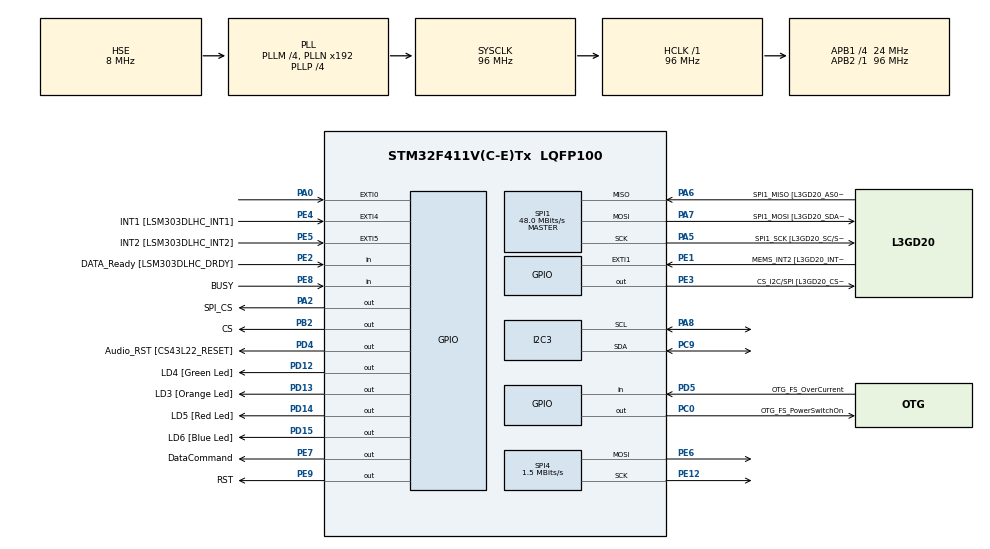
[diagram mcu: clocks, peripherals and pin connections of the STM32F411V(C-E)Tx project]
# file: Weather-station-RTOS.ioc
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PD12.GPIO_Label=LD4 [Green Led]
SPI4.VirtualType=VM_MASTER
PC10.GPIO_PuPd=GPIO_NOPULL
SPI1.VirtualType=VM_MASTER
PC12.Signal=I2S3_SD
PA14.GPIO_Label=SWCLK
PA6.GPIO_Label=SPI1_MISO [L3GD20_AS0/SDO]
PB6.GPIO_Label=Audio_SCL [CS43L22_SCL]
PC15-OSC32_OUT.GPIO_Label=PC15-OSC32_OUT
RCC.SYSCLKSource=RCC_SYSCLKSOURCE_PLLCLK
PD14.GPIO_Speed=GPIO_SPEED_FREQ_LOW
FREERTOS.configENABLE_FPU=1
SPI1.Direction=SPI_DIRECTION_2LINES
PD4.Signal=GPIO_Output
RCC.APB2TimFreq_Value=96000000
PB6.Signal=I2C1_SCL
PC7.Signal=I2S3_MCK
SPI1.CalculateBaudRate=48.0 MBits/s
PC3.Signal=I2S2_SD
PE5.Signal=GPXTI5
PE1.Signal=GPXTI1
PB2.Signal=GPIO_Output
PE9.Signal=GPIO_Output
NVIC.TIM2_IRQn=true\:0\:0\:false\:false\:true\:false\:false\:true
PE4.GPIO_Label=INT1 [LSM303DLHC_INT1]
PC9.Mode=I2C
PE2.Signal=GPIO_Input
PD14.GPIO_PuPd=GPIO_NOPULL
PA8.Signal=I2C3_SCL
Mcu.Package=LQFP100
PB9.Signal=I2C1_SDA
VP_SYS_VS_tim2.Mode=TIM2
NVIC.TimeBase=TIM2_IRQn
PD12.Signal=GPIO_Output
NVIC.TimeBaseIP=TIM2
PA10.Signal=USB_OTG_FS_ID
PB9.GPIO_PuPd=GPIO_NOPULL
RCC.APB1TimFreq_Value=48000000
PC12.GPIO_PuPd=GPIO_NOPULL
PA4.GPIO_Label=I2S3_WS [CS43L22_LRCK]
PD15.Signal=GPIO_Output
PC0.PinState=GPIO_PIN_SET
PA5.Mode=Full_Duplex_Master
PE12.Mode=TX_Only_Simplex_Unidirect_Master
FREERTOS.Tasks01=SensorTask,32,128,StartSensorTask,Default,NULL,Dynamic,NULL,NULL;DisplayTask,24,128,StartDisplayTask,Default,NULL,Dynamic,NULL,NULL;LedTask,16,128,StartLedTask,Default,NULL,Dynamic,NULL,NULL
PA9.GPIO_Label=VBUS_FS
PB6.GPIO_PuPd=GPIO_NOPULL
FREERTOS.configCHECK_FOR_STACK_OVERFLOW=1
PH1\ -\ OSC_OUT.Mode=HSE-External-Oscillator
PA11.GPIO_Label=OTG_FS_DM
PC0.Signal=GPIO_Output
RCC.APB1CLKDivider=RCC_HCLK_DIV4
PC14-OSC32_IN.Signal=RCC_OSC32_IN
PA0-WKUP.GPIO_ModeDefaultEXTI=GPIO_MODE_EVT_RISING
PA0-WKUP.Signal=GPXTI0
PC10.GPIO_Mode=GPIO_MODE_AF_PP
PE5.GPIO_ModeDefaultEXTI=GPIO_MODE_EVT_RISING
PE8.GPIO_Label=BUSY
PA9.Signal=USB_OTG_FS_VBUS
PC7.GPIO_PuPd=GPIO_NOPULL
PE9.GPIO_Label=RST
PB10.Signal=I2S2_CK
PA5.Signal=SPI1_SCK
PH1\ -\ OSC_OUT.Signal=RCC_OSC_OUT
PE1.GPIO_Label=MEMS_INT2 [L3GD20_INT2]
PE6.Mode=TX_Only_Simplex_Unidirect_Master
PE8.Signal=GPIO_Input
SPI1.Mode=SPI_MODE_MASTER
PA13.Mode=Serial_Wire
PC7.GPIO_Label=I2S3_MCK [CS43L22_MCLK]
PA4.Signal=I2S3_WS
PC12.GPIO_Mode=GPIO_MODE_AF_PP
PA5.GPIO_Label=SPI1_SCK [L3GD20_SC/SPC]
PE5.GPIO_Label=INT2 [LSM303DLHC_INT2]
PC12.GPIO_Label=I2S3_SD [CS43L22_SDIN]
PA11.Signal=USB_OTG_FS_DM
ProjectManager.HeapSize=0x200
FREERTOS.Mutexes01=myMutex01,Dynamic,NULL
NVIC.PriorityGroup=NVIC_PRIORITYGROUP_4
PE3.Signal=GPIO_Output
PC3.GPIO_Label=PDM_OUT [MP45DT02_DOUT]
PA8.Mode=I2C
PB6.GPIO_Speed=GPIO_SPEED_FREQ_LOW
Mcu.Family=STM32F4
PA6.Mode=Full_Duplex_Master
RCC.CortexFreq_Value=96000000
PB6.GPIO_Mode=GPIO_MODE_AF_OD
PD15.GPIO_Speed=GPIO_SPEED_FREQ_LOW
PC10.Signal=I2S3_CK
SPI4.Direction=SPI_DIRECTION_2LINES
PC0.GPIO_Label=OTG_FS_PowerSwitchOn
PC10.GPIO_Speed=GPIO_SPEED_FREQ_LOW
ProjectManager.StackSize=0x400
VP_FREERTOS_VS_CMSIS_V2.Mode=CMSIS_V2
PD13.Signal=GPIO_Output
PA12.Signal=USB_OTG_FS_DP
PH0\ -\ OSC_IN.Signal=RCC_OSC_IN
SPI4.Mode=SPI_MODE_MASTER
RCC.HCLKFreq_Value=96000000
FREERTOS.configUSE_MALLOC_FAILED_HOOK=1
RCC.AHBFreq_Value=96000000
RCC.HSE_VALUE=8000000
PA4.GPIO_PuPd=GPIO_NOPULL
PA4.GPIO_Speed=GPIO_SPEED_FREQ_LOW
PC14-OSC32_IN.Mode=LSE-External-Oscillator
PA14.Mode=Serial_Wire
PA10.GPIO_Label=OTG_FS_ID
PC7.GPIO_Mode=GPIO_MODE_AF_PP
PE4.Signal=GPXTI4
SPI4.BaudRatePrescaler=SPI_BAUDRATEPRESCALER_64
PD13.GPIO_Label=LD3 [Orange Led]
PA6.Signal=SPI1_MISO
PD5.GPIO_Label=OTG_FS_OverCurrent
PD15.GPIO_PuPd=GPIO_NOPULL
PA2.GPIO_Label=SPI_CS
PB9.GPIO_Speed=GPIO_SPEED_FREQ_LOW
PC14-OSC32_IN.GPIO_Label=PC14-OSC32_IN
PE7.Signal=GPIO_Output
SPI1.BaudRatePrescaler=SPI_BAUDRATEPRESCALER_2
PE2.GPIO_Label=DATA_Ready [LSM303DLHC_DRDY]
PB3.GPIO_Label=SWO
RCC.PLLSourceVirtual=RCC_PLLSOURCE_HSE
PC15-OSC32_OUT.Mode=LSE-External-Oscillator
PD12.GPIO_Speed=GPIO_SPEED_FREQ_LOW
PD15.GPIO_Label=LD6 [Blue Led]
PA7.Mode=Full_Duplex_Master
PB9.GPIO_Label=Audio_SDA [CS43L22_SDA]
PC10.GPIO_Label=I2S3_SCK [CS43L22_SCLK]
PE4.GPIO_ModeDefaultEXTI=GPIO_MODE_EVT_RISING
PD5.Signal=GPIO_Input
PE1.GPIO_ModeDefaultEXTI=GPIO_MODE_EVT_RISING
PA12.GPIO_Label=OTG_FS_DP
PA13.Signal=SYS_JTMS-SWDIO
FREERTOS.configUSE_IDLE_HOOK=1
PH0\ -\ OSC_IN.Mode=HSE-External-Oscillator
ProjectManager.TargetToolchain=STM32CubeIDE
PB10.GPIO_Label=CLK_IN [MP45DT02_CLK]
PC15-OSC32_OUT.Signal=RCC_OSC32_OUT
board=STM32F411E-DISCO
PD13.GPIO_Speed=GPIO_SPEED_FREQ_LOW
PC7.GPIO_Speed=GPIO_SPEED_FREQ_LOW
RCC.VCOOutputFreq_Value=384000000
PB9.GPIO_Mode=GPIO_MODE_AF_OD
PA4.GPIO_Mode=GPIO_MODE_AF_PP
RCC.APB2Freq_Value=96000000
PD4.GPIO_Label=Audio_RST [CS43L22_RESET]
PD13.GPIO_PuPd=GPIO_NOPULL
SPI4.CalculateBaudRate=1.5 MBits/s
PD14.GPIO_Label=LD5 [Red Led]
PE6.Signal=SPI4_MOSI
Mcu.Name=STM32F411V(C-E)Tx
PE7.GPIO_Label=DataCommand
PE12.Signal=SPI4_SCK
PA13.GPIO_Label=SWDIO
PA2.Signal=GPIO_Output
PD14.Signal=GPIO_Output
PH1\ -\ OSC_OUT.GPIO_Label=PH1-OSC_OUT
RCC.48MHZClocksFreq_Value=48000000
PB3.Signal=SYS_JTDO-SWO
RCC.SYSCLKFreq_VALUE=96000000
PA7.GPIO_Label=SPI1_MOSI [L3GD20_SDA/SDI/SDO]
PA14.Signal=SYS_JTCK-SWCLK
PB2.GPIO_Label=CS
RCC.HSI_VALUE=16000000
RCC.PLLP=RCC_PLLP_DIV4
RCC.PLLQ=8
RCC.PLLM=4
PE3.GPIO_Label=CS_I2C/SPI [L3GD20_CS_I2C/SPI]
PH0\ -\ OSC_IN.GPIO_Label=PH0-OSC_IN
PC9.Signal=I2C3_SDA
RCC.APB1Freq_Value=24000000
PC12.GPIO_Speed=GPIO_SPEED_FREQ_LOW
RCC.PLLI2SN=200
PB12.Signal=I2S2_WS
PD12.GPIO_PuPd=GPIO_NOPULL
RCC.PLLI2SM=5
PA7.Signal=SPI1_MOSI

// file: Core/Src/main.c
/* USER CODE BEGIN Header */
/**
  ******************************************************************************
  * @file           : main.c
  * @brief          : Main program body
  ******************************************************************************
  * @attention
  *
  * <h2><center>&copy; Copyright (c) 2021 STMicroelectronics.
  * All rights reserved.</center></h2>
  *
  * This software component is licensed by ST under Ultimate Liberty license
  * SLA0044, the "License"; You may not use this file except in compliance with
  * the License. You may obtain a copy of the License at:
  *                             www.st.com/SLA0044
  *
  ******************************************************************************
  */
/* USER CODE END Header */
#include "main.h"
#include "cmsis_os.h"

/* USER CODE BEGIN Includes */
#include "bme680.h"
#include "stdio.h"
#include "DEV_Config.h"
#include "EPD_2in13bc.h"
#include "GUI_Paint.h"
#include "EPD_Test.h"
#include "Fonts.h"
/* USER CODE END Includes */

/* USER CODE BEGIN PTD */
struct bme680_dev gas_sensor;
struct bme680_field_data gas_sensor_data;
/* USER CODE END PTD */

/* USER CODE BEGIN PD */
#define BUS_TIMEOUT 1000
/* USER CODE END PD */

I2C_HandleTypeDef hi2c3;

SPI_HandleTypeDef hspi1;
SPI_HandleTypeDef hspi4;

/* Definitions for SensorTask */
osThreadId_t SensorTaskHandle;
const osThreadAttr_t SensorTask_attributes = {
  .name = "SensorTask",
  .stack_size = 128 * 4,
  .priority = (osPriority_t) osPriorityAboveNormal,
};
/* Definitions for DisplayTask */
osThreadId_t DisplayTaskHandle;
const osThreadAttr_t DisplayTask_attributes = {
  .name = "DisplayTask",
  .stack_size = 128 * 4,
  .priority = (osPriority_t) osPriorityNormal,
};
/* Definitions for LedTask */
osThreadId_t LedTaskHandle;
const osThreadAttr_t LedTask_attributes = {
  .name = "LedTask",
  .stack_size = 128 * 4,
  .priority = (osPriority_t) osPriorityBelowNormal,
};
/* Definitions for myMutex01 */
osMutexId_t myMutex01Handle;
const osMutexAttr_t myMutex01_attributes = {
  .name = "myMutex01"
};
/* USER CODE BEGIN PV */
uint8_t GTXBuffer[512], GRXBuffer[512];
int8_t rslt = BME680_OK;
uint8_t GTXBuffer1[512];
UBYTE *BlackImage, *RYImage;
/* USER CODE END PV */

void SystemClock_Config(void);
static void MX_GPIO_Init(void);
static void MX_SPI1_Init(void);
static void MX_SPI4_Init(void);
static void MX_I2C3_Init(void);
void StartSensorTask(void *argument);
void StartDisplayTask(void *argument);
void StartLedTask(void *argument);

/* USER CODE BEGIN PFP */
void user_delay_ms(uint32_t period);
int8_t user_spi_read(uint8_t dev_id, uint8_t reg_addr, uint8_t *reg_data, uint16_t len);
int8_t user_spi_write(uint8_t dev_id, uint8_t reg_addr, uint8_t *reg_data, uint16_t len);
int8_t user_i2c_read(uint8_t dev_id, uint8_t reg_addr, uint8_t *reg_data, uint16_t len);
int8_t user_i2c_write(uint8_t dev_id, uint8_t reg_addr, uint8_t *reg_data, uint16_t len);
void set_senosr_struct(struct bme680_dev *gas_sensor, uint8_t type, uint8_t amb_temp);
void bme680_start(struct bme680_dev *gas_sensor);
/* USER CODE END PFP */

int main(void)
{

  /* MCU Configuration--------------------------------------------------------*/

  /* Reset of all peripherals, Initializes the Flash interface and the Systick. */
  HAL_Init();

  /* Configure the system clock */
  SystemClock_Config();

  /* Initialize all configured peripherals */
  MX_GPIO_Init();
  MX_SPI1_Init();
  MX_SPI4_Init();
  MX_I2C3_Init();

  /* Init scheduler */
  osKernelInitialize();
  /* Create the mutex(es) */
  /* creation of myMutex01 */
  myMutex01Handle = osMutexNew(&myMutex01_attributes);

  /* Create the thread(s) */
  /* creation of SensorTask */
  SensorTaskHandle = osThreadNew(StartSensorTask, NULL, &SensorTask_attributes);

  /* creation of DisplayTask */
  DisplayTaskHandle = osThreadNew(StartDisplayTask, NULL, &DisplayTask_attributes);

  /* creation of LedTask */
  LedTaskHandle = osThreadNew(StartLedTask, NULL, &LedTask_attributes);

  /* Start scheduler */
  osKernelStart();

  /* We should never get here as control is now taken by the scheduler */
  /* Infinite loop */
  while (1)
  {

  }
}

void SystemClock_Config(void)
{
  RCC_OscInitTypeDef RCC_OscInitStruct = {0};
  RCC_ClkInitTypeDef RCC_ClkInitStruct = {0};

  /** Configure the main internal regulator output voltage
  */
  __HAL_RCC_PWR_CLK_ENABLE();
  __HAL_PWR_VOLTAGESCALING_CONFIG(PWR_REGULATOR_VOLTAGE_SCALE1);
  /** Initializes the RCC Oscillators according to the specified parameters
  * in the RCC_OscInitTypeDef structure.
  */
  RCC_OscInitStruct.OscillatorType = RCC_OSCILLATORTYPE_HSE;
  RCC_OscInitStruct.HSEState = RCC_HSE_ON;
  RCC_OscInitStruct.PLL.PLLState = RCC_PLL_ON;
  RCC_OscInitStruct.PLL.PLLSource = RCC_PLLSOURCE_HSE;
  RCC_OscInitStruct.PLL.PLLM = 4;
  RCC_OscInitStruct.PLL.PLLN = 192;
  RCC_OscInitStruct.PLL.PLLP = RCC_PLLP_DIV4;
  RCC_OscInitStruct.PLL.PLLQ = 8;
  if (HAL_RCC_OscConfig(&RCC_OscInitStruct) != HAL_OK)
  {
    Error_Handler();
  }
  /** Initializes the CPU, AHB and APB buses clocks
  */
  RCC_ClkInitStruct.ClockType = RCC_CLOCKTYPE_HCLK|RCC_CLOCKTYPE_SYSCLK
                              |RCC_CLOCKTYPE_PCLK1|RCC_CLOCKTYPE_PCLK2;
  RCC_ClkInitStruct.SYSCLKSource = RCC_SYSCLKSOURCE_PLLCLK;
  RCC_ClkInitStruct.AHBCLKDivider = RCC_SYSCLK_DIV1;
  RCC_ClkInitStruct.APB1CLKDivider = RCC_HCLK_DIV4;
  RCC_ClkInitStruct.APB2CLKDivider = RCC_HCLK_DIV1;

  if (HAL_RCC_ClockConfig(&RCC_ClkInitStruct, FLASH_LATENCY_3) != HAL_OK)
  {
    Error_Handler();
  }
}

static void MX_I2C3_Init(void)
{

  hi2c3.Instance = I2C3;
  hi2c3.Init.ClockSpeed = 100000;
  hi2c3.Init.DutyCycle = I2C_DUTYCYCLE_2;
  hi2c3.Init.OwnAddress1 = 0;
  hi2c3.Init.AddressingMode = I2C_ADDRESSINGMODE_7BIT;
  hi2c3.Init.DualAddressMode = I2C_DUALADDRESS_DISABLE;
  hi2c3.Init.OwnAddress2 = 0;
  hi2c3.Init.GeneralCallMode = I2C_GENERALCALL_DISABLE;
  hi2c3.Init.NoStretchMode = I2C_NOSTRETCH_DISABLE;
  if (HAL_I2C_Init(&hi2c3) != HAL_OK)
  {
    Error_Handler();
  }

}

static void MX_SPI1_Init(void)
{

  /* SPI1 parameter configuration*/
  hspi1.Instance = SPI1;
  hspi1.Init.Mode = SPI_MODE_MASTER;
  hspi1.Init.Direction = SPI_DIRECTION_2LINES;
  hspi1.Init.DataSize = SPI_DATASIZE_8BIT;
  hspi1.Init.CLKPolarity = SPI_POLARITY_LOW;
  hspi1.Init.CLKPhase = SPI_PHASE_1EDGE;
  hspi1.Init.NSS = SPI_NSS_SOFT;
  hspi1.Init.BaudRatePrescaler = SPI_BAUDRATEPRESCALER_2;
  hspi1.Init.FirstBit = SPI_FIRSTBIT_MSB;
  hspi1.Init.TIMode = SPI_TIMODE_DISABLE;
  hspi1.Init.CRCCalculation = SPI_CRCCALCULATION_DISABLE;
  hspi1.Init.CRCPolynomial = 10;
  if (HAL_SPI_Init(&hspi1) != HAL_OK)
  {
    Error_Handler();
  }

}

static void MX_SPI4_Init(void)
{

  /* SPI4 parameter configuration*/
  hspi4.Instance = SPI4;
  hspi4.Init.Mode = SPI_MODE_MASTER;
  hspi4.Init.Direction = SPI_DIRECTION_2LINES;
  hspi4.Init.DataSize = SPI_DATASIZE_8BIT;
  hspi4.Init.CLKPolarity = SPI_POLARITY_LOW;
  hspi4.Init.CLKPhase = SPI_PHASE_1EDGE;
  hspi4.Init.NSS = SPI_NSS_SOFT;
  hspi4.Init.BaudRatePrescaler = SPI_BAUDRATEPRESCALER_64;
  hspi4.Init.FirstBit = SPI_FIRSTBIT_MSB;
  hspi4.Init.TIMode = SPI_TIMODE_DISABLE;
  hspi4.Init.CRCCalculation = SPI_CRCCALCULATION_DISABLE;
  hspi4.Init.CRCPolynomial = 10;
  if (HAL_SPI_Init(&hspi4) != HAL_OK)
  {
    Error_Handler();
  }

}

static void MX_GPIO_Init(void)
{
  GPIO_InitTypeDef GPIO_InitStruct = {0};

  /* GPIO Ports Clock Enable */
  __HAL_RCC_GPIOE_CLK_ENABLE();
  __HAL_RCC_GPIOC_CLK_ENABLE();
  __HAL_RCC_GPIOH_CLK_ENABLE();
  __HAL_RCC_GPIOA_CLK_ENABLE();
  __HAL_RCC_GPIOB_CLK_ENABLE();
  __HAL_RCC_GPIOD_CLK_ENABLE();

  /*Configure GPIO pin Output Level */
  HAL_GPIO_WritePin(GPIOE, CS_I2C_SPI_Pin|DataCommand_Pin|RST_Pin, GPIO_PIN_RESET);

  /*Configure GPIO pin Output Level */
  HAL_GPIO_WritePin(OTG_FS_PowerSwitchOn_GPIO_Port, OTG_FS_PowerSwitchOn_Pin, GPIO_PIN_SET);

  /*Configure GPIO pin Output Level */
  HAL_GPIO_WritePin(SPI_CS_GPIO_Port, SPI_CS_Pin, GPIO_PIN_RESET);

  /*Configure GPIO pin Output Level */
  HAL_GPIO_WritePin(CS_GPIO_Port, CS_Pin, GPIO_PIN_RESET);

  /*Configure GPIO pin Output Level */
  HAL_GPIO_WritePin(GPIOD, LD4_Pin|LD3_Pin|LD5_Pin|LD6_Pin
                          |Audio_RST_Pin, GPIO_PIN_RESET);

  /*Configure GPIO pins : DATA_Ready_Pin BUSY_Pin */
  GPIO_InitStruct.Pin = DATA_Ready_Pin|BUSY_Pin;
  GPIO_InitStruct.Mode = GPIO_MODE_INPUT;
  GPIO_InitStruct.Pull = GPIO_NOPULL;
  HAL_GPIO_Init(GPIOE, &GPIO_InitStruct);

  /*Configure GPIO pins : CS_I2C_SPI_Pin DataCommand_Pin RST_Pin */
  GPIO_InitStruct.Pin = CS_I2C_SPI_Pin|DataCommand_Pin|RST_Pin;
  GPIO_InitStruct.Mode = GPIO_MODE_OUTPUT_PP;
  GPIO_InitStruct.Pull = GPIO_NOPULL;
  GPIO_InitStruct.Speed = GPIO_SPEED_FREQ_LOW;
  HAL_GPIO_Init(GPIOE, &GPIO_InitStruct);

  /*Configure GPIO pins : INT1_Pin INT2_Pin MEMS_INT2_Pin */
  GPIO_InitStruct.Pin = INT1_Pin|INT2_Pin|MEMS_INT2_Pin;
  GPIO_InitStruct.Mode = GPIO_MODE_EVT_RISING;
  GPIO_InitStruct.Pull = GPIO_NOPULL;
  HAL_GPIO_Init(GPIOE, &GPIO_InitStruct);

  /*Configure GPIO pin : OTG_FS_PowerSwitchOn_Pin */
  GPIO_InitStruct.Pin = OTG_FS_PowerSwitchOn_Pin;
  GPIO_InitStruct.Mode = GPIO_MODE_OUTPUT_PP;
  GPIO_InitStruct.Pull = GPIO_NOPULL;
  GPIO_InitStruct.Speed = GPIO_SPEED_FREQ_LOW;
  HAL_GPIO_Init(OTG_FS_PowerSwitchOn_GPIO_Port, &GPIO_InitStruct);

  /*Configure GPIO pin : PDM_OUT_Pin */
  GPIO_InitStruct.Pin = PDM_OUT_Pin;
  GPIO_InitStruct.Mode = GPIO_MODE_AF_PP;
  GPIO_InitStruct.Pull = GPIO_NOPULL;
  GPIO_InitStruct.Speed = GPIO_SPEED_FREQ_LOW;
  GPIO_InitStruct.Alternate = GPIO_AF5_SPI2;
  HAL_GPIO_Init(PDM_OUT_GPIO_Port, &GPIO_InitStruct);

  /*Configure GPIO pin : PA0 */
  GPIO_InitStruct.Pin = GPIO_PIN_0;
  GPIO_InitStruct.Mode = GPIO_MODE_EVT_RISING;
  GPIO_InitStruct.Pull = GPIO_NOPULL;
  HAL_GPIO_Init(GPIOA, &GPIO_InitStruct);

  /*Configure GPIO pin : SPI_CS_Pin */
  GPIO_InitStruct.Pin = SPI_CS_Pin;
  GPIO_InitStruct.Mode = GPIO_MODE_OUTPUT_PP;
  GPIO_InitStruct.Pull = GPIO_NOPULL;
  GPIO_InitStruct.Speed = GPIO_SPEED_FREQ_LOW;
  HAL_GPIO_Init(SPI_CS_GPIO_Port, &GPIO_InitStruct);

  /*Configure GPIO pin : I2S3_WS_Pin */
  GPIO_InitStruct.Pin = I2S3_WS_Pin;
  GPIO_InitStruct.Mode = GPIO_MODE_AF_PP;
  GPIO_InitStruct.Pull = GPIO_NOPULL;
  GPIO_InitStruct.Speed = GPIO_SPEED_FREQ_LOW;
  GPIO_InitStruct.Alternate = GPIO_AF6_SPI3;
  HAL_GPIO_Init(I2S3_WS_GPIO_Port, &GPIO_InitStruct);

  /*Configure GPIO pin : CS_Pin */
  GPIO_InitStruct.Pin = CS_Pin;
  GPIO_InitStruct.Mode = GPIO_MODE_OUTPUT_PP;
  GPIO_InitStruct.Pull = GPIO_NOPULL;
  GPIO_InitStruct.Speed = GPIO_SPEED_FREQ_LOW;
  HAL_GPIO_Init(CS_GPIO_Port, &GPIO_InitStruct);

  /*Configure GPIO pins : CLK_IN_Pin PB12 */
  GPIO_InitStruct.Pin = CLK_IN_Pin|GPIO_PIN_12;
  GPIO_InitStruct.Mode = GPIO_MODE_AF_PP;
  GPIO_InitStruct.Pull = GPIO_NOPULL;
  GPIO_InitStruct.Speed = GPIO_SPEED_FREQ_LOW;
  GPIO_InitStruct.Alternate = GPIO_AF5_SPI2;
  HAL_GPIO_Init(GPIOB, &GPIO_InitStruct);

  /*Configure GPIO pins : LD4_Pin LD3_Pin LD5_Pin LD6_Pin
                           Audio_RST_Pin */
  GPIO_InitStruct.Pin = LD4_Pin|LD3_Pin|LD5_Pin|LD6_Pin
                          |Audio_RST_Pin;
  GPIO_InitStruct.Mode = GPIO_MODE_OUTPUT_PP;
  GPIO_InitStruct.Pull = GPIO_NOPULL;
  GPIO_InitStruct.Speed = GPIO_SPEED_FREQ_LOW;
  HAL_GPIO_Init(GPIOD, &GPIO_InitStruct);

  /*Configure GPIO pins : I2S3_MCK_Pin I2S3_SCK_Pin I2S3_SD_Pin */
  GPIO_InitStruct.Pin = I2S3_MCK_Pin|I2S3_SCK_Pin|I2S3_SD_Pin;
  GPIO_InitStruct.Mode = GPIO_MODE_AF_PP;
  GPIO_InitStruct.Pull = GPIO_NOPULL;
  GPIO_InitStruct.Speed = GPIO_SPEED_FREQ_LOW;
  GPIO_InitStruct.Alternate = GPIO_AF6_SPI3;
  HAL_GPIO_Init(GPIOC, &GPIO_InitStruct);

  /*Configure GPIO pin : VBUS_FS_Pin */
  GPIO_InitStruct.Pin = VBUS_FS_Pin;
  GPIO_InitStruct.Mode = GPIO_MODE_INPUT;
  GPIO_InitStruct.Pull = GPIO_NOPULL;
  HAL_GPIO_Init(VBUS_FS_GPIO_Port, &GPIO_InitStruct);

  /*Configure GPIO pins : OTG_FS_ID_Pin OTG_FS_DM_Pin OTG_FS_DP_Pin */
  GPIO_InitStruct.Pin = OTG_FS_ID_Pin|OTG_FS_DM_Pin|OTG_FS_DP_Pin;
  GPIO_InitStruct.Mode = GPIO_MODE_AF_PP;
  GPIO_InitStruct.Pull = GPIO_NOPULL;
  GPIO_InitStruct.Speed = GPIO_SPEED_FREQ_VERY_HIGH;
  GPIO_InitStruct.Alternate = GPIO_AF10_OTG_FS;
  HAL_GPIO_Init(GPIOA, &GPIO_InitStruct);

  /*Configure GPIO pin : OTG_FS_OverCurrent_Pin */
  GPIO_InitStruct.Pin = OTG_FS_OverCurrent_Pin;
  GPIO_InitStruct.Mode = GPIO_MODE_INPUT;
  GPIO_InitStruct.Pull = GPIO_NOPULL;
  HAL_GPIO_Init(OTG_FS_OverCurrent_GPIO_Port, &GPIO_InitStruct);

  /*Configure GPIO pins : Audio_SCL_Pin Audio_SDA_Pin */
  GPIO_InitStruct.Pin = Audio_SCL_Pin|Audio_SDA_Pin;
  GPIO_InitStruct.Mode = GPIO_MODE_AF_OD;
  GPIO_InitStruct.Pull = GPIO_PULLUP;
  GPIO_InitStruct.Speed = GPIO_SPEED_FREQ_LOW;
  GPIO_InitStruct.Alternate = GPIO_AF4_I2C1;
  HAL_GPIO_Init(GPIOB, &GPIO_InitStruct);

}

/* USER CODE BEGIN 4 */

void set_senosr_struct(struct bme680_dev *gas_sensor, uint8_t type, uint8_t amb_temp)
/*
 * @param type: 1 for SPI, 0 for I2C
 *
 */
{
	if(type == 1)
	{
		HAL_GPIO_WritePin(GPIOA, SPI_CS_Pin, GPIO_PIN_RESET);
		gas_sensor->dev_id = 0;
		gas_sensor->intf = BME680_SPI_INTF;
		gas_sensor->read = user_spi_read;
		gas_sensor->write = user_spi_write;
		gas_sensor->delay_ms = user_delay_ms;
		gas_sensor->amb_temp = amb_temp;
	}
	else if(type == 0)
	{
		HAL_GPIO_WritePin(GPIOA, SPI_CS_Pin, GPIO_PIN_RESET);
		gas_sensor->dev_id = BME680_I2C_ADDR_PRIMARY;
		gas_sensor->intf = BME680_I2C_INTF;
		gas_sensor->read = user_i2c_read;
		gas_sensor->write = user_i2c_write;
		gas_sensor->delay_ms = user_delay_ms;
		gas_sensor->amb_temp = amb_temp;
	}
}

void user_delay_ms(uint32_t period)
{
    /*
     * Return control or wait,
     * for a period amount of milliseconds
     */
	osDelayUntil(period/portTICK_RATE_MS);
}

int8_t user_spi_read(uint8_t dev_id, uint8_t reg_addr, uint8_t *reg_data, uint16_t len)
{
    int8_t rslt = 0; /* Return 0 for Success, non-zero for failure */

    /*
     * The parameter dev_id can be used as a variable to select which Chip Select pin has
     * to be set low to activate the relevant device on the SPI bus
     */

    /*
     * Data on the bus should be like
     * |----------------+---------------------+-------------|
     * | MOSI           | MISO                | Chip Select |
     * |----------------+---------------------|-------------|
     * | (don't care)   | (don't care)        | HIGH        |
     * | (reg_addr)     | (don't care)        | LOW         |
     * | (don't care)   | (reg_data[0])       | LOW         |
     * | (....)         | (....)              | LOW         |
     * | (don't care)   | (reg_data[len - 1]) | LOW         |
     * | (don't care)   | (don't care)        | HIGH        |
     * |----------------+---------------------|-------------|
     */

    GTXBuffer[0] = reg_addr | 0x80;

    HAL_GPIO_WritePin(SPI_CS_GPIO_Port, SPI_CS_Pin, GPIO_PIN_RESET);
    rslt = HAL_SPI_TransmitReceive(&hspi4, GTXBuffer, GRXBuffer, len+1, 1000);
    while(hspi4.State == HAL_SPI_STATE_BUSY);
    HAL_GPIO_WritePin(SPI_CS_GPIO_Port, SPI_CS_Pin, GPIO_PIN_SET);
    memcpy(reg_data, GRXBuffer+1, len);
    return rslt;
}

int8_t user_spi_write(uint8_t dev_id, uint8_t reg_addr, uint8_t *reg_data, uint16_t len)
{
    int8_t rslt = 0; /* Return 0 for Success, non-zero for failure */

    /*
     * The parameter dev_id can be used as a variable to select which Chip Select pin has
     * to be set low to activate the relevant device on the SPI bus
     */

    /*
     * Data on the bus should be like
     * |---------------------+--------------+-------------|
     * | MOSI                | MISO         | Chip Select |
     * |---------------------+--------------|-------------|
     * | (don't care)        | (don't care) | HIGH        |
     * | (reg_addr)          | (don't care) | LOW         |
     * | (reg_data[0])       | (don't care) | LOW         |
     * | (....)              | (....)       | LOW         |
     * | (reg_data[len - 1]) | (don't care) | LOW         |
     * | (don't care)        | (don't care) | HIGH        |
     * |---------------------+--------------|-------------|
     *
     */

    GTXBuffer[0] = reg_addr & 0x7F;
    memcpy(&GTXBuffer[1], reg_data, len);

    HAL_GPIO_WritePin(SPI_CS_GPIO_Port, SPI_CS_Pin, GPIO_PIN_RESET);
    HAL_SPI_Transmit(&hspi4, GTXBuffer, len+1, 1000);
    while(hspi4.State == HAL_SPI_STATE_BUSY);
    HAL_GPIO_WritePin(SPI_CS_GPIO_Port, SPI_CS_Pin, GPIO_PIN_SET);

    return rslt;
}

int8_t user_i2c_read(uint8_t dev_id, uint8_t reg_addr, uint8_t *reg_data, uint16_t len)
{
    int8_t rslt = 0; /* Return 0 for Success, non-zero for failure */

    /*
     * The parameter dev_id can be used as a variable to store the I2C address of the device
     */

    /*
     * Data on the bus should be like
     * |------------+---------------------|
     * | I2C action | Data                |
     * |------------+---------------------|
     * | Start      | -                   |
     * | Write      | (reg_addr)          |
     * | Stop       | -                   |
     * | Start      | -                   |
     * | Read       | (reg_data[0])       |
     * | Read       | (....)              |
     * | Read       | (reg_data[len - 1]) |
     * | Stop       | -                   |
     * |------------+---------------------|
     */

    rslt = HAL_I2C_Master_Transmit(&hi2c3, dev_id<<1, &reg_addr, 1, 1000);
    while(hi2c3.State != HAL_I2C_STATE_READY);
    rslt = HAL_I2C_Master_Receive(&hi2c3, dev_id<<1, GRXBuffer, len, 1000);
    while(hi2c3.State != HAL_I2C_STATE_READY);
    memcpy(reg_data, GRXBuffer, len);
    return rslt;
}

int8_t user_i2c_write(uint8_t dev_id, uint8_t reg_addr, uint8_t *reg_data, uint16_t len)
{
    int8_t rslt = 0; /* Return 0 for Success, non-zero for failure */

    /*
     * The parameter dev_id can be used as a variable to store the I2C address of the device
     */

    /*
     * Data on the bus should be like
     * |------------+---------------------|
     * | I2C action | Data                |
     * |------------+---------------------|
     * | Start      | -                   |
     * | Write      | (reg_addr)          |
     * | Write      | (reg_data[0])       |
     * | Write      | (....)              |
     * | Write      | (reg_data[len - 1]) |
     * | Stop       | -                   |
     * |------------+---------------------|
     */

    GTXBuffer[0] = reg_addr;
    memcpy(&GTXBuffer[1], reg_data, len);
    rslt = HAL_I2C_Master_Transmit(&hi2c3, dev_id<<1, GTXBuffer, len+1, 1000);
//    HAL_GPIO_WritePin(SPI_CS_GPIO_Port, SPI_CS_Pin, GPIO_PIN_RESET);
//    HAL_SPI_Transmit(&hspi4, GTXBuffer, len+1, 1000);
//    while(hspi4.State == HAL_SPI_STATE_BUSY);
//    HAL_GPIO_WritePin(SPI_CS_GPIO_Port, SPI_CS_Pin, GPIO_PIN_SET);
    while(hi2c3.State != HAL_I2C_STATE_READY);

    return rslt;
}

void bme680_start(struct bme680_dev * gas_sensor){

/* You may assign a chip select identifier to be handled later */

/* Set the temperature, pressure and humidity settings */
gas_sensor->tph_sett.os_hum = BME680_OS_2X;
gas_sensor->tph_sett.os_pres = BME680_OS_4X;
gas_sensor->tph_sett.os_temp = BME680_OS_8X;
gas_sensor->tph_sett.filter = BME680_FILTER_SIZE_3;
/* Set the remaining gas sensor settings and link the heating profile */
gas_sensor->gas_sett.run_gas = BME680_ENABLE_GAS_MEAS;
/* Create a ramp heat waveform in 3 steps */
gas_sensor->gas_sett.heatr_temp = 320; /* degree Celsius */
gas_sensor->gas_sett.heatr_dur = 150; /* milliseconds */

/* Select the power mode */
/* Must be set before writing the sensor configuration */
gas_sensor->power_mode = BME680_FORCED_MODE;

/* Set the required sensor settings needed */
uint8_t set_required_settings;
set_required_settings = BME680_OST_SEL | BME680_OSP_SEL | BME680_OSH_SEL | BME680_GAS_SENSOR_SEL | BME680_FILTER_SEL;

/* Set the desired sensor configuration */
rslt = bme680_set_sensor_settings(set_required_settings,gas_sensor);

/* Set the power mode */
rslt = bme680_set_sensor_mode(gas_sensor);
}

/* USER CODE END 4 */

void StartSensorTask(void *argument)
{
  /* USER CODE BEGIN 5 */
	osStatus_t status;
  set_senosr_struct(&gas_sensor, 0, 20);
  //osDelay(500/portTICK_RATE_MS);
  rslt = bme680_init(&gas_sensor);
  uint16_t meas_period = 180;
  bme680_get_profile_dur(&meas_period, &gas_sensor);
  //HAL_Delay(meas_period);
  bme680_start(&gas_sensor);
  /* Infinite loop */
  for(;;)
  {
	  HAL_GPIO_TogglePin(LD6_GPIO_Port, LD6_Pin);
	  //osDelay(meas_period/portTICK_RATE_MS);
	  //osMutexAcquire(myMutex01Handle, 1000);
	  osMutexAcquire(myMutex01Handle, 100);
	  rslt = bme680_get_sensor_data(&gas_sensor_data, &gas_sensor);
	  if (gas_sensor.power_mode == BME680_FORCED_MODE)
	  {
		  rslt = bme680_set_sensor_mode(&gas_sensor);
	  }
	  osMutexRelease(myMutex01Handle);
	  //osMutexRelease(myMutex01Handle);
	  vTaskDelay(1000/portTICK_RATE_MS);
  }
  HAL_GPIO_TogglePin(LD3_GPIO_Port, LD3_Pin);

  /* USER CODE END 5 */
}

void StartDisplayTask(void *argument)
{
  /* USER CODE BEGIN StartDisplayTask */
	//DEV_Module_Exit();
//	int i = 0;
	DEV_Module_Init();
    EPD_2IN13BC_Init();
    EPD_2IN13BC_Clear();
    osDelay(500/portTICK_RATE_MS);

    UWORD Imagesize = ((EPD_2IN13BC_WIDTH % 8 == 0)? (EPD_2IN13BC_WIDTH / 8 ): (EPD_2IN13BC_WIDTH / 8 + 1)) * EPD_2IN13BC_HEIGHT;
	if((BlackImage = (UBYTE *)malloc(Imagesize)) == NULL)
	{
		Error_Handler();
	}
	if((RYImage = (UBYTE *)malloc(Imagesize)) == NULL)
	{
		Error_Handler();
	}
	Paint_NewImage(BlackImage, EPD_2IN13BC_WIDTH, EPD_2IN13BC_HEIGHT, 270, WHITE);
	Paint_NewImage(RYImage, EPD_2IN13BC_WIDTH, EPD_2IN13BC_HEIGHT, 270, WHITE);
	Paint_SelectImage(BlackImage);
	Paint_Clear(WHITE);
	Paint_SelectImage(RYImage);
	float temp, hum, press = 0;
	char buf[10];
//	Paint_Clear(WHITE);
  /* Infinite loop */
  for(;;)
  {
	  osMutexAcquire(myMutex01Handle, 100);
	  temp = gas_sensor_data.temperature/100.0;
	  hum = gas_sensor_data.humidity/1000.0;
	  press = gas_sensor_data.pressure/100.0;
	  osMutexRelease(myMutex01Handle);

//	  i++;
	  Paint_SelectImage(BlackImage);
	  Paint_Clear(WHITE);
	  Paint_DrawString_EN(5, 5, "Temperatura: ", &Font16, WHITE, BLACK);

	  Paint_DrawString_EN(5, 25, "Wilgotnosc: ", &Font16, WHITE, BLACK);

	  Paint_DrawString_EN(5, 45, "Cisnienie: ", &Font16, WHITE, BLACK);

	  Paint_SelectImage(RYImage);
	  Paint_Clear(WHITE);
//	  Paint_DrawNum(160, 5, 1, &Font16, WHITE, RED);
	  gcvt(temp, 4, buf);
	  Paint_DrawString_EN(140, 5, buf, &Font16, WHITE, RED);
	  gcvt(hum, 4, buf);
	  Paint_DrawString_EN(140, 25, buf, &Font16, WHITE, RED);
	  gcvt(press, 4, buf);
	  Paint_DrawString_EN(140, 45, buf, &Font16, WHITE, RED);

	  EPD_2IN13BC_Display(BlackImage, RYImage);

//	  //EPD_2in13bc_test();
//	  //DEV_Module_Exit();
	  HAL_GPIO_TogglePin(LD5_GPIO_Port, LD5_Pin);
	  vTaskDelay(30000/portTICK_RATE_MS);
  }
  HAL_GPIO_TogglePin(LD3_GPIO_Port, LD3_Pin);
  /* USER CODE END StartDisplayTask */
}

void StartLedTask(void *argument)
{
  /* USER CODE BEGIN StartLedTask */
	osThreadState_t a, b;
  /* Infinite loop */
  for(;;)
  {
	a = osThreadGetState(SensorTaskHandle);
	if(a == osThreadTerminated)
	{
		osThreadResume(SensorTaskHandle);
	}
	b = osThreadGetState(DisplayTaskHandle);
    HAL_GPIO_TogglePin(LD4_GPIO_Port, LD4_Pin);
    vTaskDelay(0);
  }
  /* USER CODE END StartLedTask */
}

 /**
  * @brief  Period elapsed callback in non blocking mode
  * @note   This function is called  when TIM2 interrupt took place, inside
  * HAL_TIM_IRQHandler(). It makes a direct call to HAL_IncTick() to increment
  * a global variable "uwTick" used as application time base.
  * @param  htim : TIM handle
  * @retval None
  */
void HAL_TIM_PeriodElapsedCallback(TIM_HandleTypeDef *htim)
{
  if (htim->Instance == TIM2) {
    HAL_IncTick();
  }
}

void Error_Handler(void)
{
  /* USER CODE BEGIN Error_Handler_Debug */
  /* User can add his own implementation to report the HAL error return state */
  __disable_irq();
  while (1)
  {
	  HAL_GPIO_TogglePin(LD3_GPIO_Port, LD3_Pin);
	  HAL_Delay(100);
  }
  /* USER CODE END Error_Handler_Debug */
}

/************************ (C) COPYRIGHT STMicroelectronics *****END OF FILE****/

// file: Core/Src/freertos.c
/* USER CODE BEGIN Header */
/**
  ******************************************************************************
  * File Name          : freertos.c
  * Description        : Code for freertos applications
  ******************************************************************************
  * @attention
  *
  * <h2><center>&copy; Copyright (c) 2021 STMicroelectronics.
  * All rights reserved.</center></h2>
  *
  * This software component is licensed by ST under Ultimate Liberty license
  * SLA0044, the "License"; You may not use this file except in compliance with
  * the License. You may obtain a copy of the License at:
  *                             www.st.com/SLA0044
  *
  ******************************************************************************
  */
/* USER CODE END Header */

#include "FreeRTOS.h"
#include "task.h"
#include "main.h"

/* Hook prototypes */
void vApplicationIdleHook(void);
void vApplicationStackOverflowHook(xTaskHandle xTask, signed char *pcTaskName);
void vApplicationMallocFailedHook(void);

/* USER CODE BEGIN 2 */
void vApplicationIdleHook( void )
{
   /* vApplicationIdleHook() will only be called if configUSE_IDLE_HOOK is set
   to 1 in FreeRTOSConfig.h. It will be called on each iteration of the idle
   task. It is essential that code added to this hook function never attempts
   to block in any way (for example, call xQueueReceive() with a block time
   specified, or call vTaskDelay()). If the application makes use of the
   vTaskDelete() API function (as this demo application does) then it is also
   important that vApplicationIdleHook() is permitted to return to its calling
   function, because it is the responsibility of the idle task to clean up
   memory allocated by the kernel to any task that has since been deleted. */
}
/* USER CODE END 2 */

/* USER CODE BEGIN 4 */
void vApplicationStackOverflowHook(xTaskHandle xTask, signed char *pcTaskName)
{
	  HAL_GPIO_TogglePin(LD3_GPIO_Port, LD3_Pin);

   /* Run time stack overflow checking is performed if
   configCHECK_FOR_STACK_OVERFLOW is defined to 1 or 2. This hook function is
   called if a stack overflow is detected. */
}
/* USER CODE END 4 */

/* USER CODE BEGIN 5 */
void vApplicationMallocFailedHook(void)
{
	  HAL_GPIO_TogglePin(LD3_GPIO_Port, LD3_Pin);

   /* vApplicationMallocFailedHook() will only be called if
   configUSE_MALLOC_FAILED_HOOK is set to 1 in FreeRTOSConfig.h. It is a hook
   function that will get called if a call to pvPortMalloc() fails.
   pvPortMalloc() is called internally by the kernel whenever a task, queue,
   timer or semaphore is created. It is also called by various parts of the
   demo application. If heap_1.c or heap_2.c are used, then the size of the
   heap available to pvPortMalloc() is defined by configTOTAL_HEAP_SIZE in
   FreeRTOSConfig.h, and the xPortGetFreeHeapSize() API function can be used
   to query the size of free heap space that remains (although it does not
   provide information on how the remaining heap might be fragmented). */
}
/* USER CODE END 5 */

/************************ (C) COPYRIGHT STMicroelectronics *****END OF FILE****/
